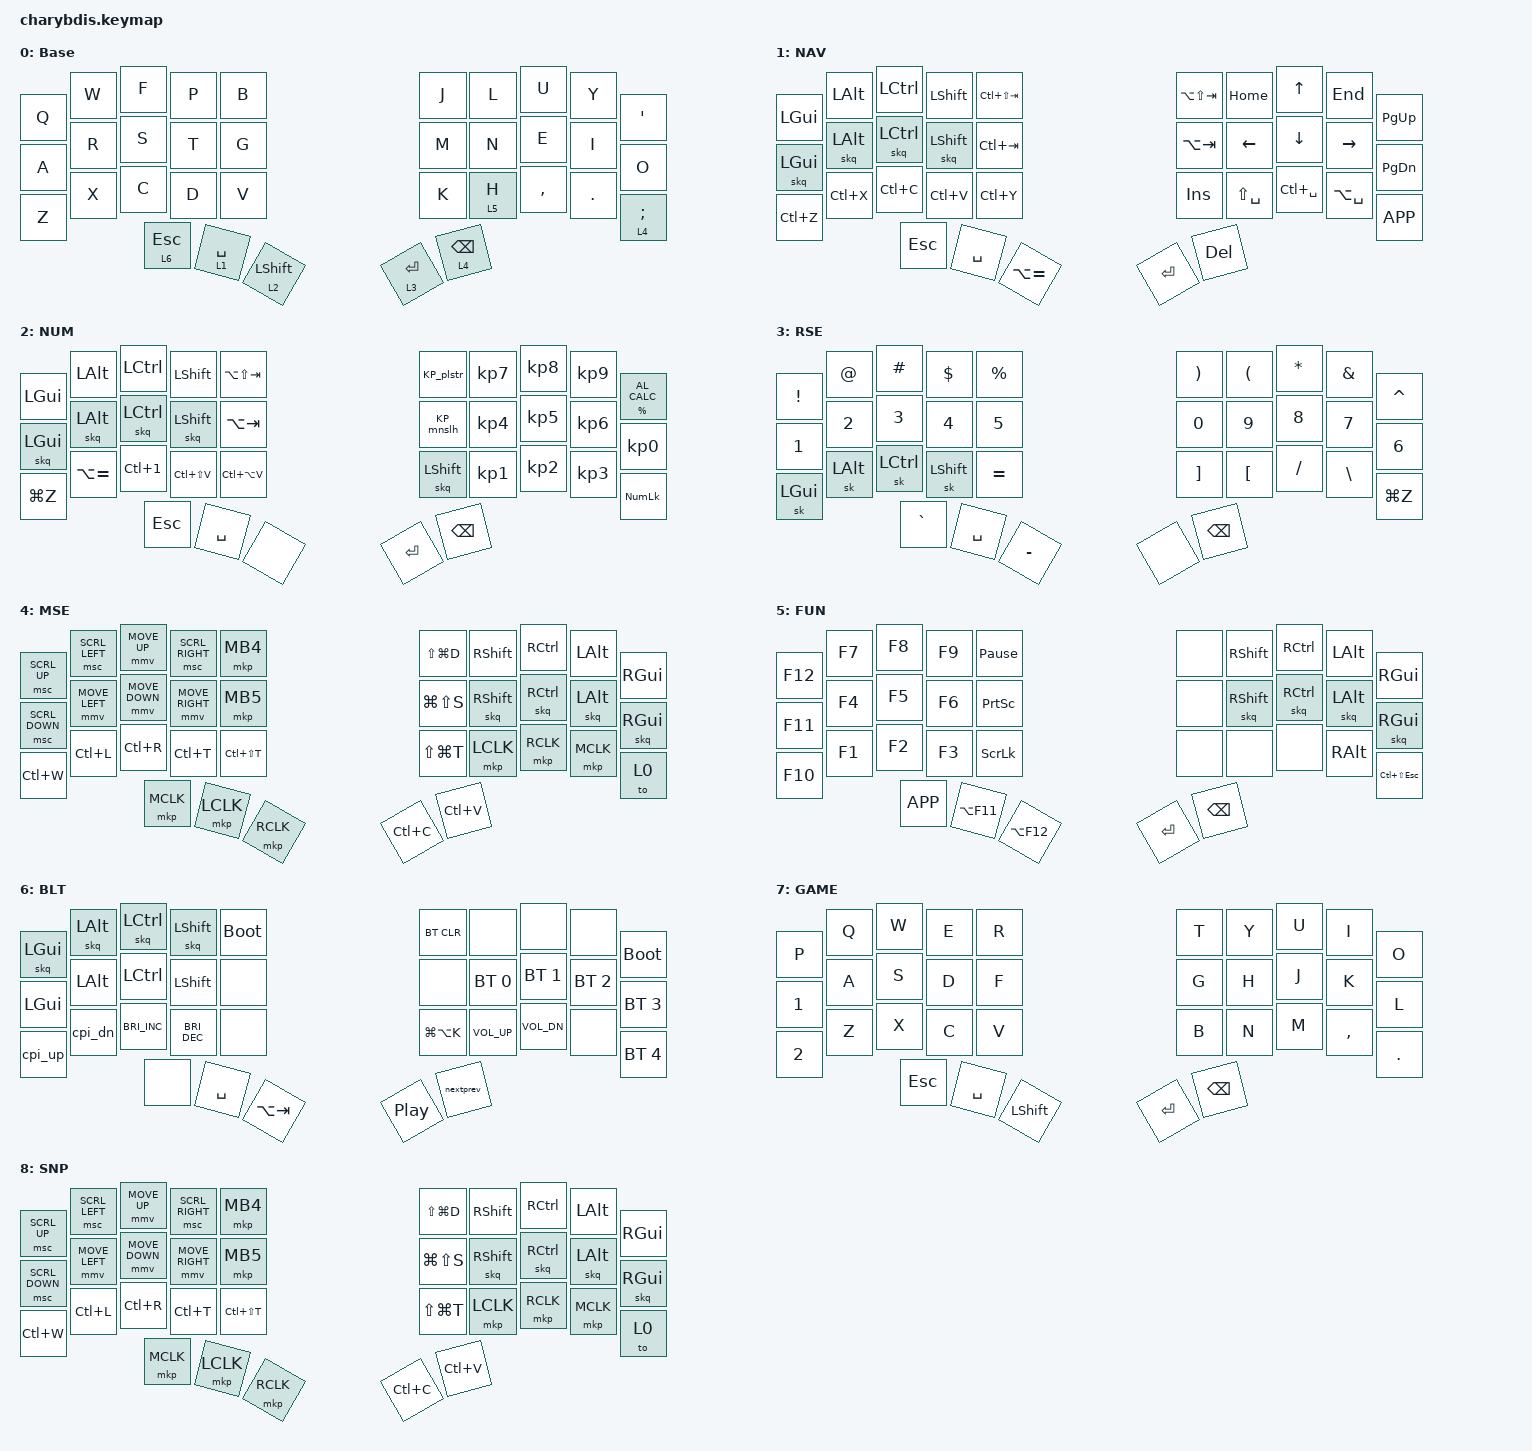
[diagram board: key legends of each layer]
// -*- mode: c -*-
/*
 * Charybdis Nano (35 keys) — ported from Temper_zmk (36 keys).
 *
 * Position map (five_column_transform):
 *    0  1  2  3  4       5  6  7  8  9
 *   10 11 12 13 14      15 16 17 18 19
 *   20 21 22 23 24      25 26 27 28 29
 *         30 31 32      33 34
 *
 * vs Temper: identical except the right thumb cluster lost its 3rd key
 * (Temper position 35, which held &lt 5 DEL):
 *   - FUN layer (5) is held via &ltp 5 H on the base layer (pos 26): tap
 *     types "h", holding past the tapping-term momentarily activates FUN.
 *   - DEL is now NAV + right BSPC thumb (hold left SPACE thumb, tap pos 34).
 *
 * SPDX-License-Identifier: MIT
 */

#define ZMK_POINTING_DEFAULT_MOVE_VAL 1800
#define ZMK_POINTING_DEFAULT_SCRL_VAL 20

#include <behaviors.dtsi>
#include <dt-bindings/zmk/bt.h>
#include <dt-bindings/zmk/keys.h>
#include <dt-bindings/zmk/pointing.h>
#include <dt-bindings/zmk/input_transform.h>
#include <input/processors.dtsi>

/*
 * V&Z Nano wiring fix (2026-07-16): the vendor PCB wires the matrix
 * differently from the module's standard Charybdis wiring. A full key sweep
 * on the module's default transform showed every key reporting one row and
 * one column off, with the top row landing on the matrix thumb row (its
 * bindings were "invisible": sticky Shift / ESC / Enter / Backspace).
 * Empirically measured matrix positions:
 *   top row    (QWFPB|JLUY') = matrix row 3, left cols 0-4, right cols 9-5
 *   home row   (ARSTG|MNEIO) = matrix row 0, left cols 0-4, right cols 9-5
 *   bottom row (ZXCDV|KH,.;) = matrix row 1, left cols 0-4, right cols 9-5
 *   thumbs                   = matrix row 2, left cols 2-4, right cols 9-8
 *
 * NOTE: keys.h (included above) redefines RC() as the Right-Ctrl modifier
 * wrapper, shadowing the RC(row,col) macro from matrix_transform.h — restore
 * it here. No binding in this keymap uses RC() as a modifier.
 */
#undef RC
#define RC(row, col) (((row) << 8) + (col))

/*
 * Row pins: the vendor wires the TOP key row to pro_micro 21 (P0.31), not
 * pro_micro 9 as the module assumes (found 2026-07-16 with the pin-hunt
 * diagnostic on the pin-hunt branch: top row typed "L" = candidate row 11).
 * Keep the module's order for the first three rows (home/bottom/thumbs) and
 * put the top row on matrix row 3, which the transform below already expects.
 */
&kscan0 {
    row-gpios
        = <&pro_micro 18 GPIO_ACTIVE_HIGH>
        , <&pro_micro 5 GPIO_ACTIVE_HIGH>
        , <&pro_micro 4 GPIO_ACTIVE_HIGH>
        , <&pro_micro 21 GPIO_ACTIVE_HIGH>
        ;
};

&five_column_transform {
    map = <
    RC(3,0) RC(3,1) RC(3,2) RC(3,3) RC(3,4)  RC(3,9) RC(3,8) RC(3,7) RC(3,6) RC(3,5)
    RC(0,0) RC(0,1) RC(0,2) RC(0,3) RC(0,4)  RC(0,9) RC(0,8) RC(0,7) RC(0,6) RC(0,5)
    RC(1,0) RC(1,1) RC(1,2) RC(1,3) RC(1,4)  RC(1,9) RC(1,8) RC(1,7) RC(1,6) RC(1,5)
                    RC(2,2) RC(2,3) RC(2,4)  RC(2,9) RC(2,8)
    >;
};

/*
 * Trackball: keep the module's SPI pin defaults (SCK P0.08, SDIO P0.17,
 * CS P0.20, MOTION P0.06). NOTE: do NOT move SCK to P0.22 — P0.22 is
 * pro_micro D4, i.e. the thumb-row kscan pin on this board's wiring
 * (tried 2026-07-16, conflicts with the matrix).
 */

/*
 * Trackball input processing (PMW3610 via zmk,input-split from the module):
 *  - Base & other layers: normal pointer movement.
 *  - NAV (1, middle SPACE thumb): ball scrolls (slowed 1/3, natural
 *    direction). Also active via the tognav combo toggle.
 *  - NUM (2, inner Shift thumb or tognum toggle): slow mouse (1/2).
 *  - BLT (6, outer ESC thumb): fast mouse (3x) — matches the canonical
 *    Temper/charybdis-36 gearbox ratio (1/3, 1/2, 3x), just riding the BLT
 *    hold instead of RSE since this board's mouse layers live on the left
 *    thumbs, not the right ones.
 *  - MSE (4): hold the bottom-right pinky (&ltp 4 SEMI) — no auto-mouse
 *    (removed 2026-07-19, it mistriggered while typing).
 *  - SNIPE (8): mirror of MSE, not wired to a key at the moment.
 */
// The listener itself is defined in the shield (charybdis_3610.dtsi),
// pointing directly at &trackball on the central right half; here we only
// attach the layer-scoped input processors.
&trackball_listener {
        // Left-thumb holds and the ball (2026-07-20 split, was scroll on all
        // three):
        //  - middle thumb (lt 1 SPACE → NAV):  ball scrolls
        //  - inner thumb  (sk_mo 2 LSHFT → NUM): slow mouse (half speed)
        //  - outer thumb  (lt 6 ESC → BLT):    fast mouse (3x speed)

        // No extra scaling on scroll: with the sensor CPI lowered to 1000,
        // the raw rate already matches the old (3200 * 1/3) scroll feel.
        // Up/down = wheel, left/right = horizontal wheel.
        scroll {
            layers = <1>;
            input-processors = <&zip_xy_scaler 1 3>, <&zip_xy_to_scroll_mapper>, <&zip_scroll_transform (INPUT_TRANSFORM_Y_INVERT)>;
        };

        slow {
            layers = <2>;
            input-processors = <&zip_xy_scaler 1 2>;
        };

        fast {
            layers = <6>;
            input-processors = <&zip_xy_scaler 3 1>;
        };

        snipe {
            layers = <8>;
            input-processors = <&zip_xy_scaler 1 2>;
        };
};

/ {
    // Nano = 5-column variant. Selecting the physical layout (not the bare
    // matrix transform) is required for ZMK Studio support.
    chosen {
        zmk,physical-layout = &charybdis_5col_layout;
    };

    behaviors {
        // Runtime trackball DPI trim (custom behavior, src/behavior_cpi_adjust.c):
        // each press steps the sensor CPI by 200 within 200-3200. RAM-only —
        // reboot returns to the dtsi default (400, matching charybdis-36's
        // base speed). On BLT: bottom-left pinky
        // = faster, next to it = slower.
        cpi_up: cpi_up {
            compatible = "zmk,behavior-cpi-adjust";
            #binding-cells = <0>;
            step = <200>;
            display-name = "CPI INC";
        };

        cpi_dn: cpi_dn {
            compatible = "zmk,behavior-cpi-adjust";
            #binding-cells = <0>;
            step = <(-200)>;
            display-name = "CPI DEC";
        };

        mmv {
            acceleration-exponent = <2>;
            time-to-max-speed-ms = <40>;
            delay-ms = <0>;
        };

        mo_tog: mo_tog {
            compatible = "zmk,behavior-hold-tap";
            bindings = <&mo>, <&tog>;
            #binding-cells = <2>;
            tapping-term-ms = <200>;
            quick-tap-ms = <180>;
        };

        skq: sticky_key_quick_release {
            compatible = "zmk,behavior-sticky-key";
            #binding-cells = <1>;
            bindings = <&kp>;
            release-after-ms = <1000>;
            quick-release;
            ignore-modifiers;
        };

        sk_mo: sk_mo {
            compatible = "zmk,behavior-hold-tap";
            bindings = <&mo>, <&skq>;
            #binding-cells = <2>;
            tapping-term-ms = <200>;
            flavor = "tap-preferred";
        };

        tt: tog_tap {
            compatible = "zmk,behavior-hold-tap";
            #binding-cells = <2>;
            flavor = "tap-preferred";
            hold-while-undecided;
            require-prior-idle-ms = <150>;
            tapping-term-ms = <200>;
            bindings = <&mo>, <&tog>;
            display-name = "Tog-Tap";
        };

        // Layer-tap with roll protection for use on a typing key (the
        // bottom-right pinky ";" → hold = MSE, right index "h" → hold = FUN):
        // require-prior-idle keeps a letter typed mid-flow (e.g. "h" in
        // "the"/"which") from ever registering as a hold.
        ltp: layer_tap_prior_idle {
            compatible = "zmk,behavior-hold-tap";
            #binding-cells = <2>;
            flavor = "tap-preferred";
            require-prior-idle-ms = <150>;
            tapping-term-ms = <200>;
            bindings = <&mo>, <&kp>;
            display-name = "Layer-Tap";
        };

        mt: mod_tap {
            compatible = "zmk,behavior-hold-tap";
            #binding-cells = <2>;
            flavor = "tap-preferred";
            require-prior-idle-ms = <150>;
            tapping-term-ms = <200>;
            bindings = <&kp>, <&kp>;
            display-name = "Mod-Tap";
        };

        lpb: left_paren_brace {
            compatible = "zmk,behavior-mod-morph";
            #binding-cells = <0>;
            bindings = <&kp LPAR>, <&kp LBRC>;
            mods = <(MOD_LSFT|MOD_RSFT)>;
        };

        rpb: right_paren_brace {
            compatible = "zmk,behavior-mod-morph";
            #binding-cells = <0>;
            bindings = <&kp RPAR>, <&kp RBRC>;
            mods = <(MOD_LSFT|MOD_RSFT)>;
        };

        plstr: plus_star {
            compatible = "zmk,behavior-mod-morph";
            #binding-cells = <0>;
            bindings = <&kp PLUS>, <&kp STAR>;
            mods = <(MOD_LSFT|MOD_RSFT)>;
        };

        mnslh: minus_slash {
            compatible = "zmk,behavior-mod-morph";
            #binding-cells = <0>;
            bindings = <&kp MINUS>, <&kp FSLH>;
            mods = <(MOD_LSFT|MOD_RSFT)>;
        };

        KP_plstr: KP_plus_star {
            compatible = "zmk,behavior-mod-morph";
            #binding-cells = <0>;
            bindings = <&kp KP_PLUS>, <&kp KP_MULTIPLY>;
            mods = <(MOD_LSFT|MOD_RSFT)>;
        };

        KP_mnslh: KP_minus_slash {
            compatible = "zmk,behavior-mod-morph";
            #binding-cells = <0>;
            bindings = <&kp KP_MINUS>, <&kp KP_DIVIDE>;
            mods = <(MOD_LSFT|MOD_RSFT)>;
        };

        nextprev: next_prev_track {
            compatible = "zmk,behavior-mod-morph";
            #binding-cells = <0>;
            bindings = <&kp C_NEXT>, <&kp C_PREV>;
            mods = <(MOD_LSFT|MOD_RSFT)>;
        };
    };

    combos {
        compatible = "zmk,combos";

        // Layer toggles
        tognav   { bindings = <&tog 1>; key-positions = <8 18>;  require-prior-idle-ms = <150>; layers = <0 1>; };
        tognum   { bindings = <&tog 2>; key-positions = <15 16>; require-prior-idle-ms = <150>; layers = <0 2>; };
        togsym   { bindings = <&tog 3>; key-positions = <23 26>; require-prior-idle-ms = <150>; layers = <0 3>; };
        togmouse   { bindings = <&tog 4>; key-positions = <1  11>;  require-prior-idle-ms = <150>; layers = <0 4>; };
        // Right-hand MSE toggle on the ball side: I + DOT, both under the
        // ring finger. Exit is also one-handed: tap the bottom-right pinky
        // on the MSE layer (&to 0).
        togmouse2  { bindings = <&tog 4>; key-positions = <18 28>; require-prior-idle-ms = <150>; layers = <0 4>; };
        toggaming  { bindings = <&tog 7>; key-positions = <6 7 8>; require-prior-idle-ms = <150>; layers = <0>; };
        exitgaming { bindings = <&tog 7>; key-positions = <32 33>; require-prior-idle-ms = <150>; layers = <7>; };

        // Layer 7 is gaming (toggaming/exitgaming combos above)
        tobase   { bindings = <&to 0>;  key-positions = <32 33>; require-prior-idle-ms = <150>; layers = <1 2 3 4 5 6>; };

        // Modifiers
        altcombo  { bindings = <&kp LALT>;  key-positions = <21 22>; require-prior-idle-ms = <150>; layers = <0>; };
        qmarkcombo { bindings = <&kp QMARK>; key-positions = <27 28>; require-prior-idle-ms = <150>; layers = <0>; };

        // Special functions
        langswitchcombo { bindings = <&kp LG(SPACE)>; key-positions = <12 13>; require-prior-idle-ms = <150>; layers = <0>; };
        capslockcombo   { bindings = <&kp CAPS>;      key-positions = <22 23>; require-prior-idle-ms = <150>; layers = <0>; };
        capswordcombo   { bindings = <&caps_word>;    key-positions = <3 6>;   require-prior-idle-ms = <150>; layers = <0>; };
        tabcombo        { bindings = <&kp TAB>;       key-positions = <16 17>; require-prior-idle-ms = <150>; layers = <0>; };

        // Left hand symbols
        bslashcombo   { bindings = <&kp BSLH>;          key-positions = <10 11>; require-prior-idle-ms = <150>; layers = <0>; };
        lftbrcktcombo { bindings = <&kp LEFT_BRACKET>;  key-positions = <11 12>; require-prior-idle-ms = <150>; layers = <0>; };
        lftbrccombo   { bindings = <&kp LEFT_BRACE>;    key-positions = <2  12>;  require-prior-idle-ms = <150>; layers = <0>; };

        // Right hand symbols
        rgtbrcktcombo { bindings = <&kp RIGHT_BRACKET>; key-positions = <17 18>; require-prior-idle-ms = <150>; layers = <0>; };
        fslashcombo   { bindings = <&kp SLASH>;         key-positions = <18 19>; require-prior-idle-ms = <150>; layers = <0>; };
        rgtbrccombo   { bindings = <&kp RIGHT_BRACE>;   key-positions = <7  17>;  require-prior-idle-ms = <150>; layers = <0>; };

        // Top row symbols
        lftparencombo { bindings = <&kp LEFT_PARENTHESIS>;  key-positions = <2 3>; require-prior-idle-ms = <150>; layers = <0>; };
        rgtparencombo { bindings = <&kp RIGHT_PARENTHESIS>; key-positions = <6 7>; require-prior-idle-ms = <150>; layers = <0>; };
        pipecombo     { bindings = <&kp PIPE>;              key-positions = <1 2>; require-prior-idle-ms = <150>; layers = <0>; };
        equalcombo    { bindings = <&kp EQUAL>;             key-positions = <7 8>; require-prior-idle-ms = <150>; layers = <0>; };

        // Bottom row
        undercombo { bindings = <&kp UNDER>; key-positions = <25 26>; require-prior-idle-ms = <150>; layers = <0>; };
        minuscombo { bindings = <&kp MINUS>; key-positions = <26 27>; require-prior-idle-ms = <150>; layers = <0>; };

        // Layer 2 specific Num Layer
        combo_space   { bindings = <&kp SPACE>; key-positions = <26 27>; require-prior-idle-ms = <150>; layers = <2>; };
        combo_decimal { bindings = <&kp DOT>;   key-positions = <27 28>; require-prior-idle-ms = <150>; layers = <2>; };
    };

    keymap {
        compatible = "zmk,keymap";

        base {
            display-name = "Base";
            bindings = <
  &kp Q  &kp W  &kp F       &kp P       &kp B           &kp J     &kp L      &kp U     &kp Y   &kp SQT
  &kp A  &kp R  &kp S       &kp T       &kp G           &kp M     &kp N      &kp E     &kp I   &kp O
  &kp Z  &kp X  &kp C       &kp D       &kp V           &kp K     &ltp 5 H   &kp COMMA &kp DOT &ltp 4 SEMI
                &lt 6 ESC   &lt 1 SPACE &sk_mo 2 LSHFT  &lt 3 RET &lt 4 BSPC
            >;
        };

        nav {
            display-name = "NAV";
            bindings = <
  &kp LGUI   &kp LALT  &kp LCTRL  &kp LSHFT  &kp LC(LS(TAB))   &kp LA(LS(TAB)) &kp HOME      &kp UP        &kp END       &kp PG_UP
  &skq LGUI  &skq LALT &skq LCTRL &skq LSHFT &kp LC(TAB)       &kp LA(TAB)     &kp LEFT      &kp DOWN      &kp RIGHT     &kp PG_DN
  &kp LC(Z)  &kp LC(X) &kp LC(C)  &kp LC(V)  &kp LC(Y)         &kp INS         &kp LS(SPACE) &kp LC(SPACE) &kp LA(SPACE) &kp K_APP
                        &kp ESC    &kp SPACE  &kp LA(EQUAL)     &kp RET         &kp DEL
            >;
        };

        num {
            display-name = "NUM";
            bindings = <
  &kp LGUI   &kp LALT       &kp LCTRL   &kp LSHFT      &kp LA(LS(TAB))    &KP_plstr  &kp KP_N7 &kp KP_N8  &kp KP_N9  &mt PERCENT C_AL_CALC
  &skq LGUI  &skq LALT      &skq LCTRL  &skq LSHFT     &kp LA(TAB)        &KP_mnslh  &kp KP_N4 &kp KP_N5  &kp KP_N6  &kp KP_N0
  &kp LG(Z)  &kp LA(EQUAL)  &kp LC(N1)  &kp LC(LS(V))  &kp LC(LA(V))      &skq LSHFT &kp KP_N1 &kp KP_N2  &kp KP_N3  &kp KP_NLCK
                            &kp ESC     &kp SPACE      &none              &kp RET    &kp BSPC
            >;
        };

        raise {
            display-name = "RSE";
            bindings = <
  &kp EXCL &kp AT   &kp HASH  &kp DLLR  &kp PRCNT &kp RPAR &kp LPAR &kp STAR &kp AMPS &kp CARET
  &kp N1   &kp N2   &kp N3    &kp N4    &kp N5    &kp N0   &kp N9   &kp N8   &kp N7   &kp N6
  &sk LGUI &sk LALT &sk LCTRL &sk LSHFT &kp EQUAL &kp RBKT &kp LBKT &kp FSLH &kp BSLH &kp LG(Z)
                    &kp GRAVE &kp SPACE &kp MINUS &none    &kp BSPC
            >;
        };

        mouse {
            // Held via the bottom-right pinky (&ltp 4 SEMI on base): pinky
            // holds, thumb rolls the ball, index/middle/ring click on the
            // bottom row (H=LEFT, comma=RIGHT, dot=MIDDLE). Left side
            // identical to the final Temper MSE layer; left thumb clicks
            // kept for two-handed use. Pos 29 = &to 0: on a toggled MSE
            // (togmouse/togmouse2 combos) the same pinky taps you back to
            // base, so toggle-in and exit are both right-hand-only.
            // (Replaced Alt+F4, which sat under the holding pinky.)
            display-name = "MSE";
            bindings = <
  &msc SCRL_UP    &msc SCRL_LEFT  &mmv MOVE_UP    &msc SCRL_RIGHT  &mkp MB4         &kp LS(LG(D))  &kp RSHFT  &kp RCTRL  &kp LALT  &kp RGUI
  &msc SCRL_DOWN  &mmv MOVE_LEFT  &mmv MOVE_DOWN  &mmv MOVE_RIGHT  &mkp MB5         &kp LG(LS(S))  &skq RSHFT &skq RCTRL &skq LALT &skq RGUI
  &kp LC(W)       &kp LC(L)       &kp LC(R)       &kp LC(T)        &kp LC(LS(T))    &kp LS(LG(T))  &mkp LCLK  &mkp RCLK  &mkp MCLK &to 0
                                  &mkp MCLK       &mkp LCLK        &mkp RCLK        &kp LC(C)      &kp LC(V)
            >;
        };

        fun {
            display-name = "FUN";
            bindings = <
  &kp F12  &kp F7  &kp F8     &kp F9      &kp PAUSE_BREAK   &none   &kp RSHFT   &kp RCTRL  &kp LALT  &kp RGUI
  &kp F11  &kp F4  &kp F5     &kp F6      &kp PSCRN         &none   &skq RSHFT  &skq RCTRL &skq LALT &skq RGUI
  &kp F10  &kp F1  &kp F2     &kp F3      &kp SLCK          &none   &none       &none      &kp RALT  &kp LC(LS(ESC))
                    &kp K_APP  &kp LA(F11) &kp LA(F12)       &kp RET &kp BSPC
            >;
        };

        blt {
            display-name = "BLT";
            bindings = <
  &skq LGUI &skq LALT &skq LCTRL    &skq LSHFT      &bootloader    &bt BT_CLR     &none        &none        &none        &bootloader
  &kp LGUI  &kp LALT  &kp LCTRL     &kp LSHFT       &none          &none          &bt BT_SEL 0 &bt BT_SEL 1 &bt BT_SEL 2 &bt BT_SEL 3
  &cpi_up   &cpi_dn   &kp C_BRI_INC &kp C_BRI_DEC   &none          &kp LG(LA(K))  &kp C_VOL_UP &kp C_VOL_DN &none        &bt BT_SEL 4
                      &none         &kp SPACE       &kp LA(TAB)    &kp C_PP       &nextprev
            >;
        };

        gaming {
            display-name = "GAME";
            bindings = <
  &kp P  &kp Q  &kp W  &kp E  &kp R  &kp T    &kp Y  &kp U    &kp I     &kp O
  &kp N1 &kp A  &kp S  &kp D  &kp F  &kp G    &kp H  &kp J    &kp K     &kp L
  &kp N2 &kp Z  &kp X  &kp C  &kp V  &kp B    &kp N  &kp M    &kp COMMA &kp DOT
                &kp ESC &kp SPACE &kp LSHFT    &kp RET &kp BSPC
            >;
        };

        snipe {
            // Mirror of the MSE layer (not &trans) so nothing falls through
            // to Base if the auto-mouse temp layer times out. Currently only
            // reachable if a &mo 8 binding is added somewhere.
            display-name = "SNP";
            bindings = <
  &msc SCRL_UP    &msc SCRL_LEFT  &mmv MOVE_UP    &msc SCRL_RIGHT  &mkp MB4         &kp LS(LG(D))  &kp RSHFT  &kp RCTRL  &kp LALT  &kp RGUI
  &msc SCRL_DOWN  &mmv MOVE_LEFT  &mmv MOVE_DOWN  &mmv MOVE_RIGHT  &mkp MB5         &kp LG(LS(S))  &skq RSHFT &skq RCTRL &skq LALT &skq RGUI
  &kp LC(W)       &kp LC(L)       &kp LC(R)       &kp LC(T)        &kp LC(LS(T))    &kp LS(LG(T))  &mkp LCLK  &mkp RCLK  &mkp MCLK &to 0
                                  &mkp MCLK       &mkp LCLK        &mkp RCLK        &kp LC(C)      &kp LC(V)
            >;
        };
    };
};
